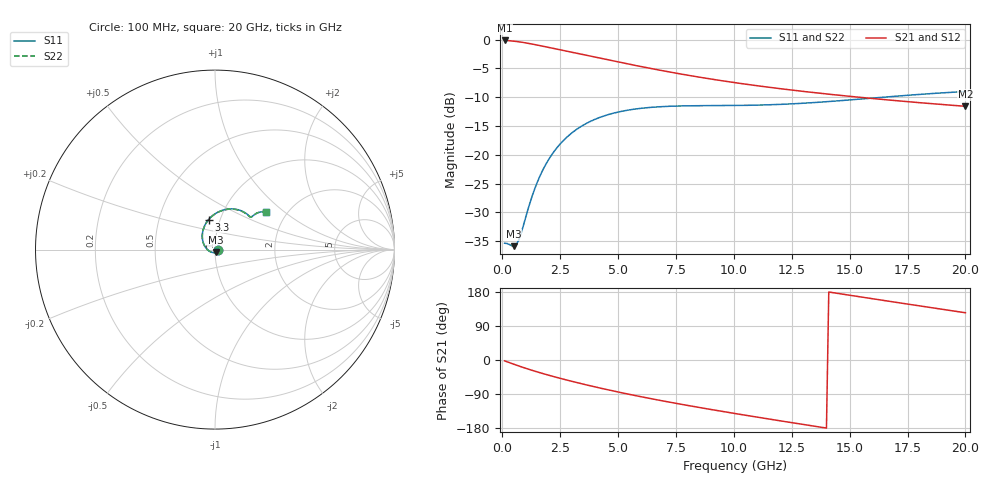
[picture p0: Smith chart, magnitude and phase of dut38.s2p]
! Touchstone file exported from HFSS 2024.1.0
!  File:  C:/UserFiles/LocalFiles/RDL_TSV_Batchsim/temp_RDL_TSV_38_1779404026.aedt
!  Generated:  07:07:18 AM May 22, 2026
!  Design:  RDL_TSV
!  Project:  temp_RDL_TSV_38_1779404026
!  Setup:  Setup1
!  Solution:  Sweep
! Variables:
!  dtsv = 14.04um
!  hbump = 3um
!  htsv = 95.3um
!  ldown = 408.77um
!  lrdl = 453.55um
!  p = 40
!  p1 = 54.53um
!  rhole = 10um
!  subl = 3040.51um
!  t = 450um
!  tdown = 2.47um
!  trdl = 3.97um
!  viad = 10um
!  wdown = 19.66um
!  wrdl = 20.47um
!  xbump = 18um
# GHz S MA R 50.000000
! Terminal data exported
! Port[1] = TM1_1_T1
! Port[2] = TM1_4_T1
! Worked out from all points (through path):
!   200 points, 100 MHz to 20 GHz, reference 50 ohm
!   highest |S21| = -0.16 dB at 100 MHz (marker M1); lowest = -11.6 dB at 20 GHz (marker M2)
!   group delay of S21, straight-line fit = 30.6 ps
!   lowest |S11| = -35.9 dB at 500 MHz (marker M3), VSWR 1.03, Z = 50.5 - j1.53 ohm
!   |S11| at or under -10 dB: start of sweep to 16.49 GHz
!   |S22| runs from -35.9 to -9.0 dB; largest |S21 - S12| = 5.1e-14
!   S11 on the Smith chart (normalised r, x): 100 MHz: 1.03, -0.01; 3.3 GHz: 0.88, +0.30; 20 GHz: 1.57, +0.76
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0.1  0.01704 -10.7  0.9822 -2.3  0.9822 -2.3  0.01704 -10.7
! Gamma 0 0 0 0
! Port Impedance 50 0 50 0
0.5  0.01607 -71.0  0.9684 -11.2  0.9684 -11.2  0.01608 -70.9
0.6  0.01654 -90.2  0.9631 -13.4  0.9631 -13.4  0.01655 -90.0
0.7  0.01795 -109.3  0.9572 -15.5  0.9572 -15.5  0.01795 -109.2
0.8  0.02041 -126.9  0.9508 -17.6  0.9508 -17.6  0.02039 -126.7
1.2  0.03852 -174.6  0.9212 -25.6  0.9212 -25.6  0.0384 -174.5
1.4  0.05055 170.6  0.9049 -29.4  0.9049 -29.4  0.05038 170.7
1.6  0.06355 158.8  0.8882 -33.1  0.8882 -33.1  0.06332 158.9
1.9  0.08388 144.5  0.8631 -38.4  0.8631 -38.4  0.08357 144.6
2.5  0.1241 123.0  0.8142 -48.4  0.8142 -48.4  0.1236 123.0
3.3  0.1708 102.2  0.7532 -60.8  0.7532 -60.8  0.1701 102.2
3.5  0.1808 97.9  0.7387 -63.7  0.7387 -63.7  0.1801 98.0
4.2  0.2104 85.1  0.6903 -73.7  0.6903 -73.7  0.2095 85.1
5.1  0.237 72.2  0.6332 -85.7  0.6332 -85.7  0.2359 72.2
5.9  0.2517 63.5  0.5876 -95.8  0.5876 -95.8  0.2505 63.5
6.8  0.261 56.0  0.5422 -106.5  0.5422 -106.5  0.2597 56.0
8.4  0.2664 47.4  0.4755 -124.2  0.4755 -124.2  0.265 47.5
10.1  0.2678 43.1  0.4209 -141.7  0.4209 -141.7  0.2663 43.2
11.7  0.2721 41.9  0.3811 -157.6  0.3811 -157.6  0.2707 42.0
13.4  0.2831 41.7  0.3474 -174.0  0.3474 -174.0  0.2819 41.8
16.7  0.3187 40.4  0.2985 155.0  0.2985 155.0  0.3178 40.6
20  0.354 36.5  0.2633 124.7  0.2633 124.7  0.3532 36.6
